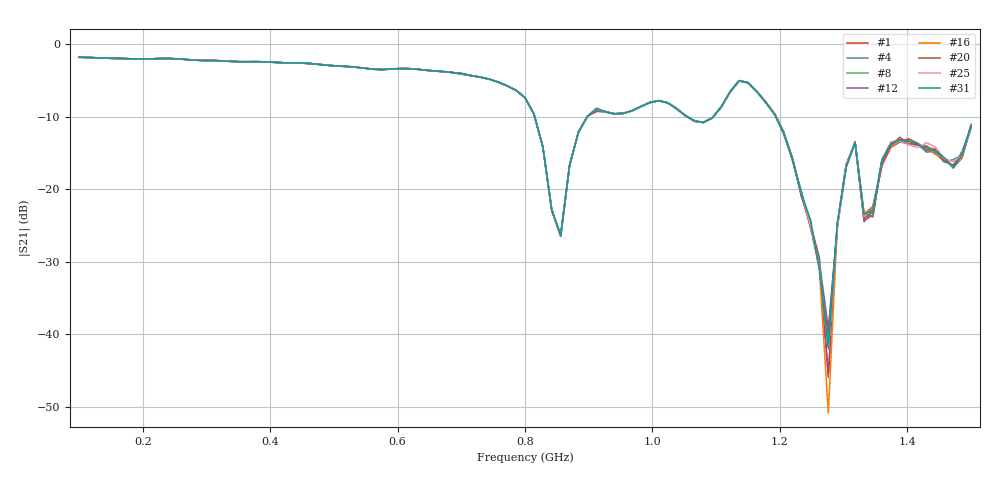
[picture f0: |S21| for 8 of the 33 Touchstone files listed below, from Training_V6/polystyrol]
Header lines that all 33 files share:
! NanoVNA-App
! Start: 100MHz Stop: 1,5GHz Points: 101
! S-Parameter data: F S11 S21 S12 S22
# Hz S RI R 50
!  Frequency  S11_Real  S11_Imag  S21_Real  S21_Imag  S12_Real  S12_Imag  S22_Real  S22_Imag
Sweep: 100 MHz to 1.5 GHz
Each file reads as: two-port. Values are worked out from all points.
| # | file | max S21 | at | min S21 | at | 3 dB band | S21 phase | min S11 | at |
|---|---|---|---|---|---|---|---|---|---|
| 1 | polystyrol (1).s2p | -1.80 dB | 100 MHz | -45.9 dB | 1.276 GHz | 100 MHz-730 MHz | 13 deg at 800 MHz | -39.1 dB | 128 MHz |
| 2 | polystyrol (2).s2p | -1.80 dB | 100 MHz | -41.8 dB | 1.276 GHz | 100 MHz-730 MHz | 13 deg at 800 MHz | -39.1 dB | 128 MHz |
| 3 | polystyrol (3).s2p | -1.80 dB | 100 MHz | -51.0 dB | 1.276 GHz | 100 MHz-730 MHz | 13 deg at 800 MHz | -39.1 dB | 128 MHz |
| 4 | polystyrol (4).s2p | -1.80 dB | 100 MHz | -39.2 dB | 1.276 GHz | 100 MHz-730 MHz | 13 deg at 800 MHz | -39.1 dB | 128 MHz |
| 5 | polystyrol (5).s2p | -1.80 dB | 100 MHz | -50.3 dB | 1.276 GHz | 100 MHz-730 MHz | 13 deg at 800 MHz | -39.1 dB | 128 MHz |
| 6 | polystyrol (6).s2p | -1.80 dB | 100 MHz | -39.5 dB | 1.276 GHz | 100 MHz-730 MHz | 13 deg at 800 MHz | -39.1 dB | 128 MHz |
| 7 | polystyrol (9).s2p | -1.80 dB | 100 MHz | -41.7 dB | 1.276 GHz | 100 MHz-730 MHz | 13 deg at 800 MHz | -39.1 dB | 128 MHz |
| 8 | polystyrol (10).s2p | -1.80 dB | 100 MHz | -41.0 dB | 1.276 GHz | 100 MHz-730 MHz | 13 deg at 800 MHz | -39.1 dB | 128 MHz |
| 9 | polystyrol (11).s2p | -1.80 dB | 100 MHz | -44.9 dB | 1.276 GHz | 100 MHz-730 MHz | 13 deg at 800 MHz | -39.1 dB | 128 MHz |
| 10 | polystyrol (13).s2p | -1.80 dB | 100 MHz | -35.4 dB | 1.276 GHz | 100 MHz-716 MHz | 9 deg at 800 MHz | -39.1 dB | 128 MHz |
| 11 | polystyrol (14).s2p | -1.80 dB | 100 MHz | -40.6 dB | 1.276 GHz | 100 MHz-716 MHz | 8 deg at 800 MHz | -39.1 dB | 128 MHz |
| 12 | polystyrol (16).s2p | -1.80 dB | 100 MHz | -45.4 dB | 1.276 GHz | 100 MHz-730 MHz | 13 deg at 800 MHz | -39.1 dB | 128 MHz |
| 13 | polystyrol (18).s2p | -1.80 dB | 100 MHz | -42.9 dB | 1.276 GHz | 100 MHz-730 MHz | 13 deg at 800 MHz | -39.1 dB | 128 MHz |
| 14 | polystyrol (19).s2p | -1.80 dB | 100 MHz | -43.9 dB | 1.276 GHz | 100 MHz-730 MHz | 13 deg at 800 MHz | -39.1 dB | 128 MHz |
| 15 | polystyrol (20).s2p | -1.80 dB | 100 MHz | -41.7 dB | 1.276 GHz | 100 MHz-730 MHz | 13 deg at 800 MHz | -39.1 dB | 128 MHz |
| 16 | polystyrol (21).s2p | -1.80 dB | 100 MHz | -50.8 dB | 1.276 GHz | 100 MHz-730 MHz | 13 deg at 800 MHz | -39.1 dB | 128 MHz |
| 17 | polystyrol (22).s2p | -1.80 dB | 100 MHz | -42.4 dB | 1.276 GHz | 100 MHz-730 MHz | 13 deg at 800 MHz | -39.1 dB | 128 MHz |
| 18 | polystyrol (23).s2p | -1.80 dB | 100 MHz | -42.8 dB | 1.276 GHz | 100 MHz-730 MHz | 13 deg at 800 MHz | -39.1 dB | 128 MHz |
| 19 | polystyrol (24).s2p | -1.80 dB | 100 MHz | -40.7 dB | 1.276 GHz | 100 MHz-730 MHz | 13 deg at 800 MHz | -39.2 dB | 128 MHz |
| 20 | polystyrol (25).s2p | -1.80 dB | 100 MHz | -39.9 dB | 1.276 GHz | 100 MHz-730 MHz | 13 deg at 800 MHz | -39.1 dB | 128 MHz |
| 21 | polystyrol (26).s2p | -1.80 dB | 100 MHz | -41.4 dB | 1.276 GHz | 100 MHz-730 MHz | 13 deg at 800 MHz | -39.1 dB | 128 MHz |
| 22 | polystyrol (27).s2p | -1.80 dB | 100 MHz | -42.8 dB | 1.276 GHz | 100 MHz-730 MHz | 13 deg at 800 MHz | -39.1 dB | 128 MHz |
| 23 | polystyrol (28).s2p | -1.80 dB | 100 MHz | -43.0 dB | 1.276 GHz | 100 MHz-730 MHz | 13 deg at 800 MHz | -39.1 dB | 128 MHz |
| 24 | polystyrol (29).s2p | -1.80 dB | 100 MHz | -55.4 dB | 1.276 GHz | 100 MHz-730 MHz | 13 deg at 800 MHz | -39.1 dB | 128 MHz |
| 25 | polystyrol (31).s2p | -1.80 dB | 100 MHz | -42.1 dB | 1.276 GHz | 100 MHz-730 MHz | 13 deg at 800 MHz | -39.1 dB | 128 MHz |
| 26 | polystyrol (32).s2p | -1.80 dB | 100 MHz | -50.3 dB | 1.276 GHz | 100 MHz-730 MHz | 13 deg at 800 MHz | -39.1 dB | 128 MHz |
| 27 | polystyrol (33).s2p | -1.80 dB | 100 MHz | -40.8 dB | 1.276 GHz | 100 MHz-730 MHz | 13 deg at 800 MHz | -39.0 dB | 128 MHz |
| 28 | polystyrol (34).s2p | -1.80 dB | 100 MHz | -41.7 dB | 1.276 GHz | 100 MHz-730 MHz | 13 deg at 800 MHz | -39.1 dB | 128 MHz |
| 29 | polystyrol (35).s2p | -1.80 dB | 100 MHz | -40.2 dB | 1.276 GHz | 100 MHz-730 MHz | 13 deg at 800 MHz | -39.1 dB | 128 MHz |
| 30 | polystyrol (36).s2p | -1.80 dB | 100 MHz | -42.5 dB | 1.276 GHz | 100 MHz-730 MHz | 13 deg at 800 MHz | -39.1 dB | 128 MHz |
| 31 | polystyrol (37).s2p | -1.80 dB | 100 MHz | -41.9 dB | 1.276 GHz | 100 MHz-730 MHz | 13 deg at 800 MHz | -39.1 dB | 128 MHz |
| 32 | polystyrol (38).s2p | -1.80 dB | 100 MHz | -41.9 dB | 1.276 GHz | 100 MHz-730 MHz | 13 deg at 800 MHz | -39.1 dB | 128 MHz |
| 33 | polystyrol (39).s2p | -1.80 dB | 100 MHz | -41.9 dB | 1.276 GHz | 100 MHz-730 MHz | 13 deg at 800 MHz | -39.1 dB | 128 MHz |
